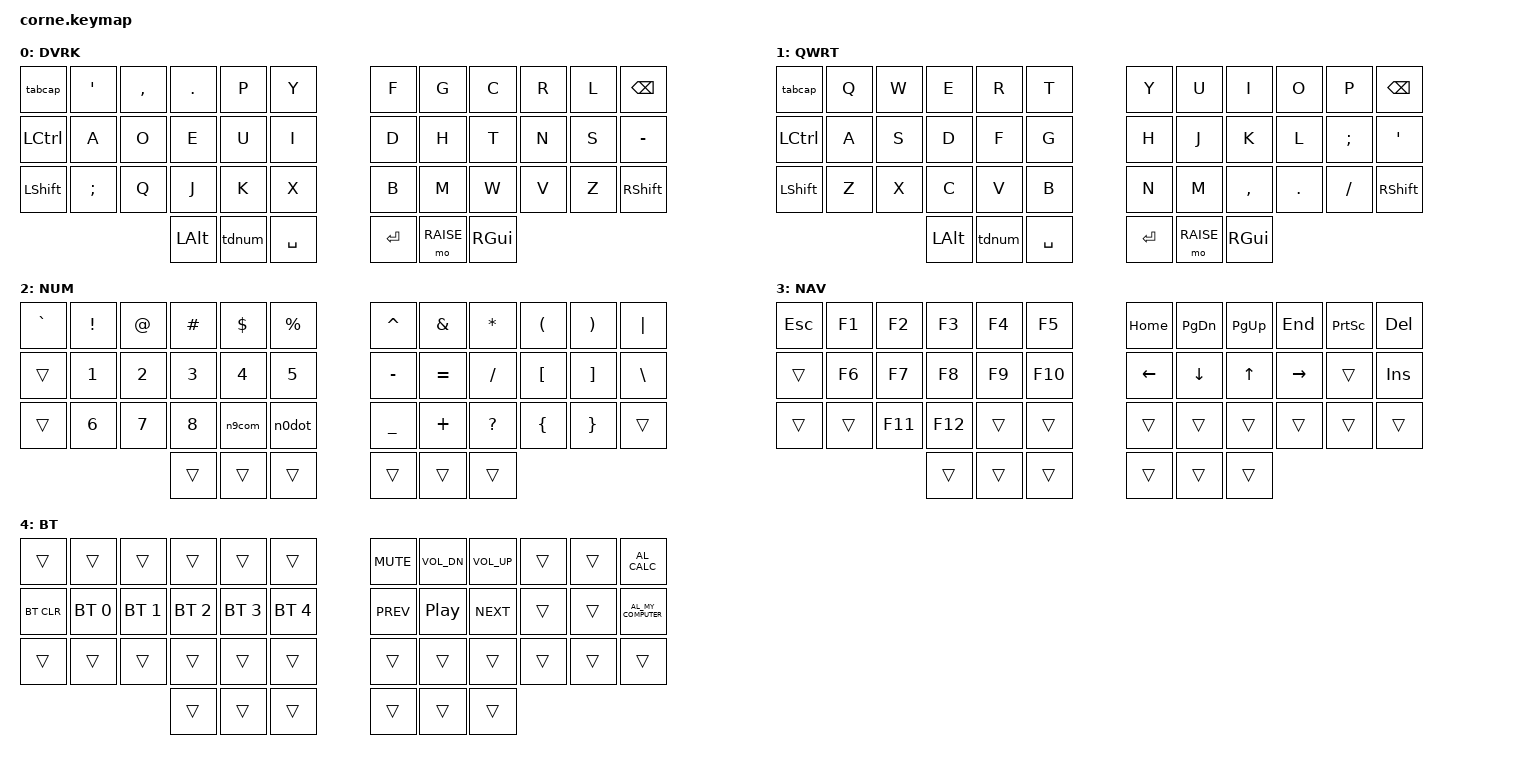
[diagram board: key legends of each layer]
/*
 * Copyright (c) 2020 The ZMK Contributors
 *
 * SPDX-License-Identifier: MIT
 */

#include <behaviors.dtsi>
#include <dt-bindings/zmk/keys.h>
#include <dt-bindings/zmk/bt.h>
#include <dt-bindings/zmk/ext_power.h>

#define DVORAK 0
#define QWERTY 1
#define LOWER  2
#define RAISE  3
#define ADJUST 4

#define COMBO_MS 50
#define COMBO_LONG 200

/ {
    combos {
        compatible = "zmk,combos";
        
        // COMBOS LIST
        // combo_esc (0_1.ESC)<0,1>   : PRESS ESC ON TAB+;/Q
        // combo_del (10_11.DEL)<0,1> : PRESS DEL ON L/P+BKSP
        // qwrt_tog (24_35_39,=>1)<0> : TOGGLES LAYOUT ON LSHFT+RSHFT+ENT
        // dvrk_tog (24_35_39.=>0)<1> : TOGGLES LAYOUT ON LSHFT+RSHFT+ENT
        // |  0  |  1  |  2  |  3  |  4  |  5  |     |  6  |  7  |  8  |  9  |  10 |  11 |
        // |  12 |  13 |  14 |  15 |  16 |  17 |     |  18 |  19 |  20 |  21 |  22 |  23 |
        // |  24 |  25 |  26 |  27 |  28 |  29 |     |  30 |  31 |  32 |  33 |  34 |  35 |
        //                   |  36 |  37 |  38 |     |  39 |  40 |  41 |
        combo_esc {
            timeout-ms = <COMBO_MS>;
            key-positions = <0 1>;
            layers = <0 1>;
            bindings = <&kp ESC>;
        };
        
        combo_del {
            timeout-ms = <COMBO_MS>;
            key-positions = <10 11>;
            layers = <0 1>;
            bindings = <&kp DEL>;
        };
        
        qwrt_tog {
            timeout-ms = <COMBO_LONG>;
            key-positions = <24 35 39>;
            layers = <0>;
            bindings = <&to 1>;
        };
        
        dvrk_tog {
            timeout-ms = <COMBO_LONG>;
            key-positions = <24 35 39>;
            layers = <1>;
            bindings = <&to 0>;
        };
    };
    
    conditional_layers {
        compatible = "zmk,conditional-layers";
        adjust_layer_mo {
            if-layers = <2 3>;
            then-layer = <4>;
        };
    };
    
    behaviors {
        n9com: nine_comma {
            compatible = "zmk,behavior-mod-morph";
            label = "NINE_COMMA";
            #binding-cells = <0>;
            bindings = <&kp N9>, <&kp COMMA>;
            mods = <(MOD_RSFT)>;
        };
        
        n0dot: zero_dot {
            compatible = "zmk,behavior-mod-morph";
            label = "ZERO_DOT";
            #binding-cells = <0>;
            bindings = <&kp N0>, <&kp DOT>;
            mods = <(MOD_RSFT)>;
        };
        
        tabcap: tab_caps {
            compatible = "zmk,behavior-mod-morph";
            label = "TAB_CAPS";
            #binding-cells = <0>;
            bindings = <&kp TAB>, <&kp CAPS>;
            mods = <(MOD_RSFT)>;
        };
        
        tdnum: tap_num {
            compatible = "zmk,behavior-tap-dance";
            label = "TAP_NUM";
            #binding-cells = <0>;
            tapping-term-ms = <COMBO_LONG>;
            bindings = <&mo 2>, <&tog 2>;
        };
    };
    
    keymap {
        compatible = "zmk,keymap";
        
        dvorak_layer {
            // 0 DVORAK
            //        |TABS:RSHFT>CAPS| ' " | , < | . > |   P    |  Y  |     |  F  |  G  |  C  |  R  |  L  |BKSP |
            //        |CTRL           |  A  |  O  |  E  |   U    |  I  |     |  D  |  H  |  T  |  N  |  S  | - _ |
            //        |SHFT           | ; : |  Q  |  J  |   K    |  X  |     |  B  |  M  |  W  |  V  |  Z  |SHFT |
            //                                    | ALT |<2>..=>2| SPC |     | ENT | <3> | GUI |
            label = "DVRK";
            bindings = <
           &tabcap    &kp SQT  &kp COMMA   &kp DOT      &kp P      &kp Y     &kp F      &kp G      &kp C     &kp R  &kp L  &kp BSPC
         &kp LCTRL      &kp A      &kp O     &kp E      &kp U      &kp I     &kp D      &kp H      &kp T     &kp N  &kp S  &kp MINUS
         &kp LSHFT   &kp SEMI      &kp Q     &kp J      &kp K      &kp X     &kp B      &kp M      &kp W     &kp V  &kp Z  &kp RSHFT
                                          &kp LALT     &tdnum  &kp SPACE     &kp ENTER  &mo RAISE  &kp RGUI
            >;
        };
        
        qwerty_layer {
            // 1 QWERTY
            //        |TABS:RSHFT>CAPS|  Q  |  W  |  E  |   R    |  T  |     |  Y  |  U  |  I  |  O  |  P  |BKSP |
            //        |CTRL           |  A  |  S  |  D  |   F    |  G  |     |  H  |  J  |  K  |  L  | ; : | ' " |
            //        |SHFT           |  Z  |  X  |  C  |   V    |  B  |     |  N  |  M  | , < | . > | / ? |SHFT |
            //                                    | ALT |<2>..=>2| SPC |     | ENT | <3> | GUI |
            label = "QWRT";
            bindings = <
                   &tabcap  &kp Q  &kp W     &kp E      &kp R      &kp T     &kp Y      &kp U      &kp I      &kp O    &kp P     &kp BSPC
                 &kp LCTRL  &kp A  &kp S     &kp D      &kp F      &kp G     &kp H      &kp J      &kp K      &kp L    &kp SEMI  &kp SQT
                 &kp LSHFT  &kp Z  &kp X     &kp C      &kp V      &kp B     &kp N      &kp M      &kp COMMA  &kp DOT  &kp FSLH  &kp RSHFT
                                          &kp LALT     &tdnum  &kp SPACE     &kp ENTER  &mo RAISE  &kp RGUI
            >;
        };
        
        lower_layer {
            // 2 LOWER : NUMS + SYMBOLS
            //               |GRAVE|  !  |  @  |  #  |   $    |   %    |     |  ^  |  &  |  *  |  (  |  )  | "|" |
            //               |     |  1  |  2  |  3  |   4    |   5    |     |  -  |  =  |  /  |  [  |  ]  |  \  |
            //               |     |  6  |  7  |  8  |9:RSFT>,|0:RSFT>.|     |  _  |  +  |  ?  |  {  |  }  |     |
            //                                 |     |========|        |     |     |     |     |
            label = "NUM";
            bindings = <
              &kp GRAVE  &kp EXCL  &kp AT  &kp HASH  &kp DLLR  &kp PRCNT     &kp CARET  &kp AMPS   &kp ASTRK  &kp LPAR  &kp RPAR  &kp PIPE
                 &trans    &kp N1  &kp N2    &kp N3    &kp N4     &kp N5     &kp MINUS  &kp EQUAL  &kp FSLH   &kp LBKT  &kp RBKT  &kp BSLH
                 &trans    &kp N6  &kp N7    &kp N8    &n9com     &n0dot     &kp UNDER  &kp PLUS   &kp QMARK  &kp LBRC  &kp RBRC  &trans
                                             &trans    &trans     &trans     &trans     &trans     &trans
            >;
        };
        
        raise_layer {
            // 3 RAISE : FN + NAV
            //                     |ESC  | F1  | F2  | F3  | F4  | F5  |     |HOME |PGDN |PGUP |END  |PRNS |DEL  |
            //                     |     | F6  | F7  | F8  | F9  | F10 |     |LEFT |DOWN | UP  |RIGHT|     |INS  |
            //                     |     | F11 | F12 |     |     |     |     |     |     |     |     |     |     |
            //                                             |     |     |     |     |=====|     |
            label = "NAV";
            bindings = <
                      &kp ESC  &kp F1   &kp F2   &kp F3  &kp F4   &kp F5     &kp HOME  &kp PG_DN  &kp PG_UP  &kp END    &kp PSCRN  &kp DEL
                       &trans  &kp F6   &kp F7   &kp F8  &kp F9  &kp F10     &kp LEFT  &kp DOWN   &kp UP     &kp RIGHT  &trans     &kp INS
                       &trans  &trans  &kp F11  &kp F12  &trans   &trans     &trans    &trans     &trans     &trans     &trans     &trans
                                                 &trans  &trans   &trans     &trans    &trans     &trans
            >;
        };
        
        adjust_layer {
            // 4 ADJUST : BT + MEDIA
            //                     |     |     |     |     |     |     |     |MUTE | V-  | V+  |     |     |CALC |
            //                     |BTCLR|BT1  |BT2  |BT3  |BT4  |BT5  |     |PRV  | PP  |NXT  |     |     |FILES|
            //                     |     |     |     |     |     |     |     |     |     |     |     |     |     |
            //                                       |     |=====|     |     |     |=====|     |
            label = "BT";
            bindings = <
            &trans        &trans        &trans        &trans        &trans        &trans     &kp C_MUTE  &kp C_VOL_DN  &kp C_VOL_UP  &trans  &trans  &kp C_AL_CALC
        &bt BT_CLR  &bt BT_SEL 0  &bt BT_SEL 1  &bt BT_SEL 2  &bt BT_SEL 3  &bt BT_SEL 4     &kp C_PREV  &kp C_PP      &kp C_NEXT    &trans  &trans  &kp C_AL_MY_COMPUTER
            &trans        &trans        &trans        &trans        &trans        &trans     &trans      &trans        &trans        &trans  &trans  &trans
                                                      &trans        &trans        &trans     &trans      &trans        &trans
            >;
        };
    };
};
